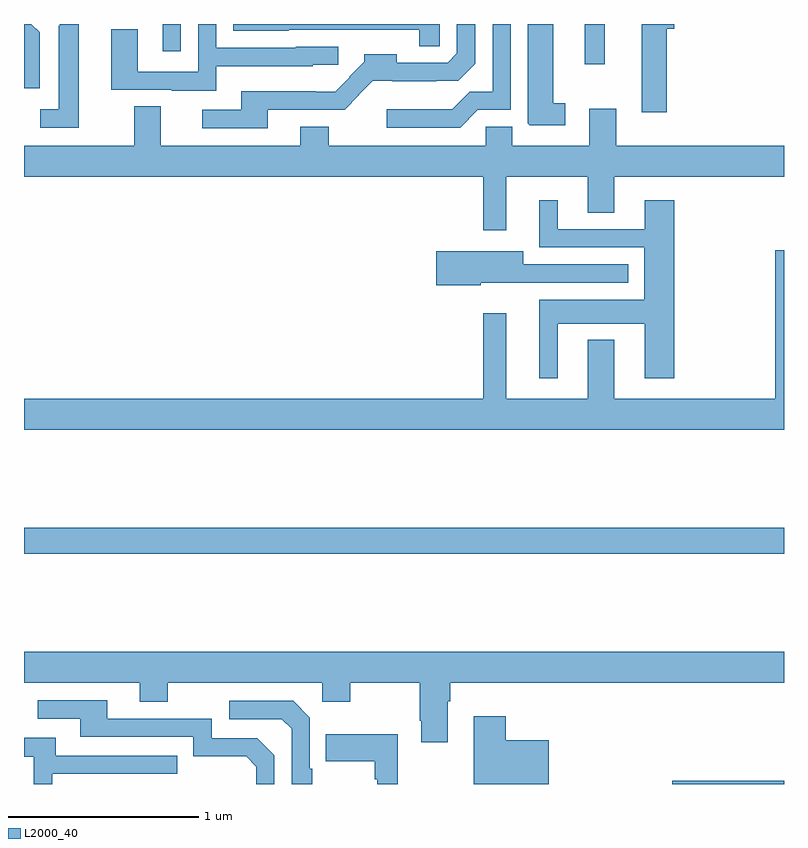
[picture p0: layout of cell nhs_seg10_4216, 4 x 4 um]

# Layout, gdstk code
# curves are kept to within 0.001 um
import gdstk
lib = gdstk.Library(unit=1e-6, precision=1e-09)
def R(c, l, rs):  # rectangles x0, y0, x1, y1
    for r in rs: c.add(gdstk.rectangle(r[:2], r[2:], *l))
def P(c, l, *ps):  # polygons
    for p in ps: c.add(gdstk.Polygon(p, *l))
L2000_40 = (2000, 40)

nhs_seg10_4216 = lib.new_cell('nhs_seg10_4216')
R(nhs_seg10_4216, L2000_40, [(350.411,1250.5,351,1250.516), (347,1251.712,351,1251.848), (349.952,1254.288,350.056,1254.5), (347.729,1254.357,347.826,1254.5)])
P(nhs_seg10_4216, L2000_40, [(348.283,1254.048),(348.687,1254.048),(348.763,1254.125),(348.761,1254.127),(348.835,1254.201),(349.169,1254.2),(349.169,1254.202),(349.285,1254.202),(349.374,1254.291),(349.374,1254.5),(349.278,1254.5),(349.278,1254.345),(349.23,1254.297),(348.961,1254.297),(348.961,1254.34),(348.79,1254.34),(348.79,1254.301),(348.711,1254.222),(348.714,1254.219),(348.638,1254.143),(348.536,1254.143),(348.536,1254.145),(348.143,1254.145),(348.143,1254.048),(347.937,1254.048),(347.937,1253.952),(348.283,1253.952)],
  [(348.013,1254.278),(348.519,1254.278),(348.519,1254.285),(348.654,1254.285),(348.654,1254.381),(348.429,1254.381),(348.429,1254.375),(348.012,1254.375),(348.012,1254.5),(347.916,1254.5),(347.916,1254.249),(347.598,1254.249),(347.598,1254.473),(347.459,1254.473),(347.459,1254.153),(347.777,1254.153),(347.777,1254.149),(348.013,1254.149)],
  [(347.287,1254.5),(347.187,1254.5),(347.187,1254.491),(347.183,1254.491),(347.183,1254.051),(347.085,1254.051),(347.085,1253.955),(347.287,1253.955)],
  [(349.188,1254.5),(348.102,1254.5),(348.102,1254.464),(348.393,1254.464),(348.393,1254.471),(348.825,1254.471),(348.825,1254.47),(349.08,1254.47),(349.08,1254.382),(349.188,1254.382)],
  [(347.082,1254.456),(347.038,1254.5),(347,1254.5),(347,1254.162),(347.082,1254.162)],
  [(349.389,1254.048),(349.563,1254.048),(349.563,1254.5),(349.467,1254.5),(349.467,1254.143),(349.346,1254.143),(349.255,1254.052),(348.909,1254.052),(348.909,1253.955),(349.296,1253.955)],
  [(349.849,1254.083),(349.786,1254.083),(349.786,1254.5),(349.652,1254.5),(349.652,1253.977),(349.662,1253.967),(349.849,1253.967)],
  [(350.384,1254.476),(350.423,1254.476),(350.423,1254.5),(350.252,1254.5),(350.252,1254.036),(350.384,1254.036)],
  [(349.537,1253.696),(349.967,1253.696),(349.967,1253.506),(350.107,1253.506),(350.107,1253.696),(351,1253.696),(351,1253.86),(350.116,1253.86),(350.116,1254.055),(349.976,1254.055),(349.976,1253.86),(349.57,1253.86),(349.57,1253.958),(349.431,1253.958),(349.431,1253.86),(348.603,1253.86),(348.603,1253.959),(348.455,1253.959),(348.455,1253.86),(347.719,1253.86),(347.719,1254.068),(347.579,1254.068),(347.579,1253.86),(347,1253.86),(347,1253.696),(349.416,1253.696),(349.416,1253.415),(349.537,1253.415)],
  [(349.81,1252.922),(350.267,1252.922),(350.267,1252.635),(350.423,1252.635),(350.423,1253.572),(350.267,1253.572),(350.267,1253.421),(349.81,1253.421),(349.81,1253.572),(349.712,1253.572),(349.712,1253.325),(350.264,1253.325),(350.264,1253.05),(349.712,1253.05),(349.712,1252.635),(349.81,1252.635)],
  [(351,1253.308),(350.954,1253.308),(350.954,1252.528),(350.107,1252.528),(350.107,1252.837),(349.967,1252.837),(349.967,1252.528),(349.537,1252.528),(349.537,1252.978),(349.416,1252.978),(349.416,1252.528),(347,1252.528),(347,1252.364),(351,1252.364)],
  [(349.404,1253.138),(349.623,1253.138),(349.623,1253.139),(350.179,1253.139),(350.179,1253.235),(349.627,1253.235),(349.627,1253.304),(349.17,1253.304),(349.17,1253.126),(349.404,1253.126)],
  [(349.231,1250.936),(349.244,1250.936),(349.244,1251.032),(351,1251.032),(351,1251.196),(347,1251.196),(347,1251.032),(347.609,1251.032),(347.609,1250.933),(347.757,1250.933),(347.757,1251.032),(348.57,1251.032),(348.57,1250.933),(348.717,1250.933),(348.717,1251.032),(349.084,1251.032),(349.084,1250.833),(349.091,1250.833),(349.091,1250.721),(349.231,1250.721)],
  [(348.318,1250.652),(348.228,1250.742),(347.988,1250.742),(347.988,1250.844),(347.437,1250.844),(347.437,1250.94),(347.073,1250.94),(347.073,1250.844),(347.297,1250.844),(347.297,1250.748),(347.892,1250.748),(347.892,1250.645),(348.169,1250.645),(348.222,1250.592),(348.222,1250.5),(348.318,1250.5)],
  [(348.517,1250.581),(348.504,1250.581),(348.504,1250.85),(348.417,1250.937),(348.081,1250.937),(348.081,1250.841),(348.357,1250.841),(348.408,1250.79),(348.408,1250.5),(348.517,1250.5)],
  [(349.762,1250.731),(349.535,1250.731),(349.535,1250.857),(349.367,1250.857),(349.367,1250.5),(349.762,1250.5)],
  [(348.967,1250.761),(348.589,1250.761),(348.589,1250.621),(348.846,1250.621),(348.846,1250.525),(348.858,1250.525),(348.858,1250.5),(348.967,1250.5)],
  [(347.148,1250.553),(347.807,1250.553),(347.807,1250.649),(347.167,1250.649),(347.167,1250.743),(347,1250.743),(347,1250.643),(347.052,1250.643),(347.052,1250.5),(347.148,1250.5)])

lib.write_gds('nhs_seg10_4216.gds')
